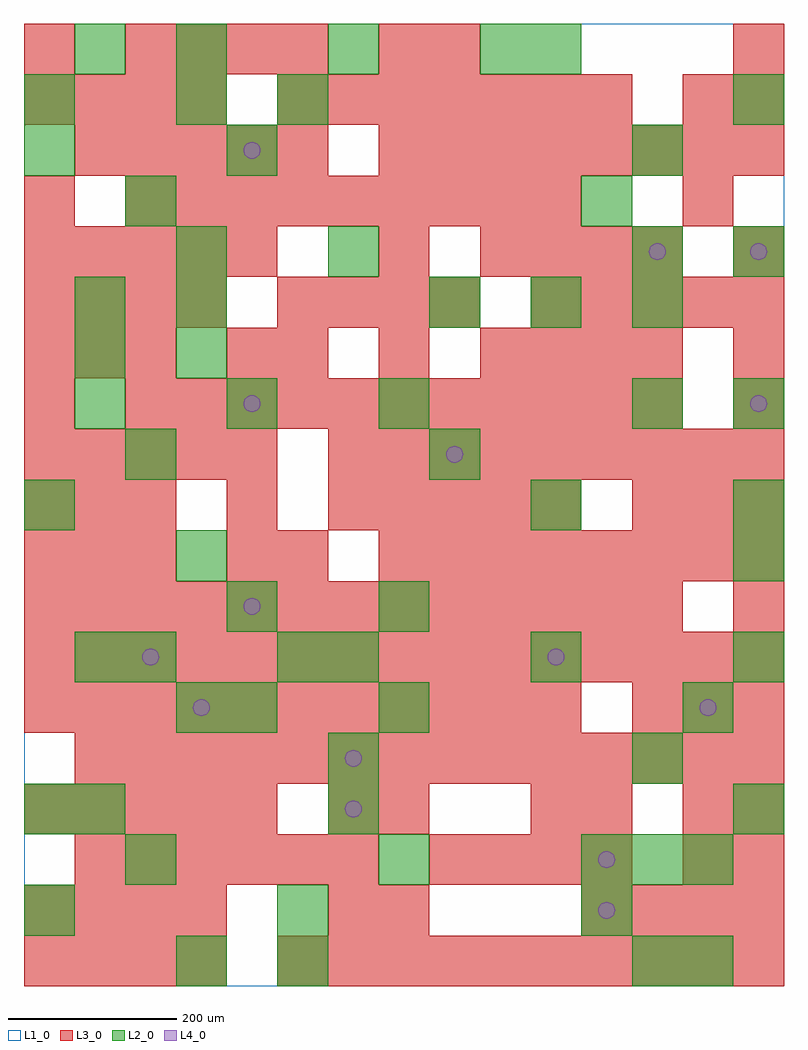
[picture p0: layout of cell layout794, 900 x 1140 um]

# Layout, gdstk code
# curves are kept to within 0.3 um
import gdstk
lib = gdstk.Library(unit=1e-6, precision=1e-09)
def R(c, l, rs):  # rectangles x0, y0, x1, y1
    for r in rs: c.add(gdstk.rectangle(r[:2], r[2:], *l))
def A(c, l, x, y, w, h, nx, ny, dx, dy):  # array of equal rectangles
    R(c, l, [(x+i*dx, y+j*dy, x+i*dx+w, y+j*dy+h) for i in range(nx) for j in range(ny)])
def P(c, l, *ps):  # polygons
    for p in ps: c.add(gdstk.Polygon(p, *l))
L1_0 = (1, 0)
L2_0 = (2, 0)
L3_0 = (3, 0)
L4_0 = (4, 0)

layout794 = lib.new_cell('layout794')
R(layout794, L1_0, [(0,0,900,1140)])
A(layout794, L2_0, 120, 120, 60, 60, 1, 3, 0, 240)
A(layout794, L2_0, 660, 120, 60, 60, 3, 1, 60, 0)
A(layout794, L2_0, 360, 360, 60, 60, 3, 1, 240, 0)
A(layout794, L2_0, 60, 660, 60, 60, 3, 1, 180, 0)
A(layout794, L2_0, 840, 660, 60, 60, 1, 3, 0, 180)
A(layout794, L2_0, 180, 720, 60, 60, 1, 3, 0, 60)
A(layout794, L2_0, 480, 780, 60, 60, 3, 1, 120, 0)
A(layout794, L2_0, 180, 1080, 60, 60, 3, 1, 180, 0)
R(layout794, L2_0, [(180,0,240,60), (300,0,360,60), (720,0,780,60), (780,0,840,60), (0,60,60,120), (300,60,360,120), (660,60,720,120), (420,120,480,180), (0,180,60,240), (60,180,120,240), (360,180,420,240), (840,180,900,240), (360,240,420,300), (720,240,780,300), (180,300,240,360), (240,300,300,360), (420,300,480,360), (780,300,840,360), (60,360,120,420), (300,360,360,420), (240,420,300,480), (420,420,480,480), (180,480,240,540), (840,480,900,540), (0,540,60,600), (600,540,660,600), (840,540,900,600), (480,600,540,660), (720,660,780,720), (60,720,120,780), (60,780,120,840), (360,840,420,900), (720,840,780,900), (120,900,180,960), (660,900,720,960), (0,960,60,1020), (240,960,300,1020), (720,960,780,1020), (0,1020,60,1080), (180,1020,240,1080), (300,1020,360,1080), (60,1080,120,1140), (600,1080,660,1140)])
A(layout794, L3_0, 0, 0, 60, 60, 4, 2, 60, 60)
A(layout794, L3_0, 300, 0, 60, 60, 10, 1, 60, 0)
A(layout794, L3_0, 660, 60, 60, 60, 4, 1, 60, 0)
A(layout794, L3_0, 60, 120, 60, 60, 6, 1, 60, 0)
A(layout794, L3_0, 480, 120, 60, 60, 4, 1, 60, 0)
A(layout794, L3_0, 0, 180, 60, 60, 5, 2, 60, 420)
A(layout794, L3_0, 840, 180, 60, 60, 1, 3, 0, 240)
A(layout794, L3_0, 60, 240, 60, 60, 14, 1, 60, 0)
A(layout794, L3_0, 0, 300, 60, 60, 11, 1, 60, 0)
A(layout794, L3_0, 720, 300, 60, 60, 3, 2, 60, 240)
A(layout794, L3_0, 0, 360, 60, 60, 15, 1, 60, 0)
A(layout794, L3_0, 0, 420, 60, 60, 13, 1, 60, 0)
A(layout794, L3_0, 0, 480, 60, 60, 3, 2, 60, 60)
A(layout794, L3_0, 420, 480, 60, 60, 8, 2, 60, 480)
A(layout794, L3_0, 360, 540, 60, 60, 5, 1, 60, 0)
A(layout794, L3_0, 360, 600, 60, 60, 9, 1, 60, 0)
A(layout794, L3_0, 120, 660, 60, 60, 11, 1, 60, 0)
A(layout794, L3_0, 0, 720, 60, 60, 3, 1, 60, 0)
A(layout794, L3_0, 300, 720, 60, 60, 3, 1, 120, 0)
A(layout794, L3_0, 600, 720, 60, 60, 3, 1, 60, 0)
A(layout794, L3_0, 0, 780, 60, 60, 4, 2, 60, 240)
A(layout794, L3_0, 300, 780, 60, 60, 4, 1, 60, 0)
A(layout794, L3_0, 600, 780, 60, 60, 5, 1, 60, 0)
A(layout794, L3_0, 0, 840, 60, 60, 5, 1, 60, 0)
A(layout794, L3_0, 540, 840, 60, 60, 4, 1, 60, 0)
A(layout794, L3_0, 120, 900, 60, 60, 9, 1, 60, 0)
A(layout794, L3_0, 60, 960, 60, 60, 5, 1, 60, 0)
A(layout794, L3_0, 300, 1020, 60, 60, 7, 1, 60, 0)
A(layout794, L3_0, 120, 1080, 60, 60, 4, 1, 60, 0)
R(layout794, L3_0, [(360,60,420,120), (420,60,480,120), (780,120,840,180), (840,120,900,180), (360,180,420,240), (420,180,480,240), (600,180,660,240), (660,180,720,240), (780,180,840,240), (240,480,300,540), (300,480,360,540), (240,540,300,600), (0,660,60,720), (240,720,300,780), (840,720,900,780), (420,840,480,900), (840,840,900,900), (0,900,60,960), (780,900,840,960), (780,1020,840,1080), (840,1020,900,1080), (0,1080,60,1140), (420,1080,480,1140), (480,1080,540,1140), (840,1080,900,1140)])
P(layout794, L4_0, [(160,390),(159.239,393.827),(157.071,397.071),(153.827,399.239),(150,400),(146.173,399.239),(142.929,397.071),(140.761,393.827),(140,390),(140.761,386.173),(142.929,382.929),(146.173,380.761),(150,380),(153.827,380.761),(157.071,382.929),(159.239,386.173)],
  [(220,330),(219.239,333.827),(217.071,337.071),(213.827,339.239),(210,340),(206.173,339.239),(202.929,337.071),(200.761,333.827),(200,330),(200.761,326.173),(202.929,322.929),(206.173,320.761),(210,320),(213.827,320.761),(217.071,322.929),(219.239,326.173)],
  [(280,450),(279.239,453.827),(277.071,457.071),(273.827,459.239),(270,460),(266.173,459.239),(262.929,457.071),(260.761,453.827),(260,450),(260.761,446.173),(262.929,442.929),(266.173,440.761),(270,440),(273.827,440.761),(277.071,442.929),(279.239,446.173)],
  [(280,690),(279.239,693.827),(277.071,697.071),(273.827,699.239),(270,700),(266.173,699.239),(262.929,697.071),(260.761,693.827),(260,690),(260.761,686.173),(262.929,682.929),(266.173,680.761),(270,680),(273.827,680.761),(277.071,682.929),(279.239,686.173)],
  [(280,990),(279.239,993.827),(277.071,997.071),(273.827,999.239),(270,1000),(266.173,999.239),(262.929,997.071),(260.761,993.827),(260,990),(260.761,986.173),(262.929,982.929),(266.173,980.761),(270,980),(273.827,980.761),(277.071,982.929),(279.239,986.173)],
  [(400,210),(399.239,213.827),(397.071,217.071),(393.827,219.239),(390,220),(386.173,219.239),(382.929,217.071),(380.761,213.827),(380,210),(380.761,206.173),(382.929,202.929),(386.173,200.761),(390,200),(393.827,200.761),(397.071,202.929),(399.239,206.173)],
  [(400,270),(399.239,273.827),(397.071,277.071),(393.827,279.239),(390,280),(386.173,279.239),(382.929,277.071),(380.761,273.827),(380,270),(380.761,266.173),(382.929,262.929),(386.173,260.761),(390,260),(393.827,260.761),(397.071,262.929),(399.239,266.173)],
  [(520,630),(519.239,633.827),(517.071,637.071),(513.827,639.239),(510,640),(506.173,639.239),(502.929,637.071),(500.761,633.827),(500,630),(500.761,626.173),(502.929,622.929),(506.173,620.761),(510,620),(513.827,620.761),(517.071,622.929),(519.239,626.173)],
  [(640,390),(639.239,393.827),(637.071,397.071),(633.827,399.239),(630,400),(626.173,399.239),(622.929,397.071),(620.761,393.827),(620,390),(620.761,386.173),(622.929,382.929),(626.173,380.761),(630,380),(633.827,380.761),(637.071,382.929),(639.239,386.173)],
  [(700,90),(699.239,93.827),(697.071,97.071),(693.827,99.239),(690,100),(686.173,99.239),(682.929,97.071),(680.761,93.827),(680,90),(680.761,86.173),(682.929,82.929),(686.173,80.761),(690,80),(693.827,80.761),(697.071,82.929),(699.239,86.173)],
  [(700,150),(699.239,153.827),(697.071,157.071),(693.827,159.239),(690,160),(686.173,159.239),(682.929,157.071),(680.761,153.827),(680,150),(680.761,146.173),(682.929,142.929),(686.173,140.761),(690,140),(693.827,140.761),(697.071,142.929),(699.239,146.173)],
  [(760,870),(759.239,873.827),(757.071,877.071),(753.827,879.239),(750,880),(746.173,879.239),(742.929,877.071),(740.761,873.827),(740,870),(740.761,866.173),(742.929,862.929),(746.173,860.761),(750,860),(753.827,860.761),(757.071,862.929),(759.239,866.173)],
  [(820,330),(819.239,333.827),(817.071,337.071),(813.827,339.239),(810,340),(806.173,339.239),(802.929,337.071),(800.761,333.827),(800,330),(800.761,326.173),(802.929,322.929),(806.173,320.761),(810,320),(813.827,320.761),(817.071,322.929),(819.239,326.173)],
  [(880,690),(879.239,693.827),(877.071,697.071),(873.827,699.239),(870,700),(866.173,699.239),(862.929,697.071),(860.761,693.827),(860,690),(860.761,686.173),(862.929,682.929),(866.173,680.761),(870,680),(873.827,680.761),(877.071,682.929),(879.239,686.173)],
  [(880,870),(879.239,873.827),(877.071,877.071),(873.827,879.239),(870,880),(866.173,879.239),(862.929,877.071),(860.761,873.827),(860,870),(860.761,866.173),(862.929,862.929),(866.173,860.761),(870,860),(873.827,860.761),(877.071,862.929),(879.239,866.173)])

lib.write_gds('layout794.gds')
